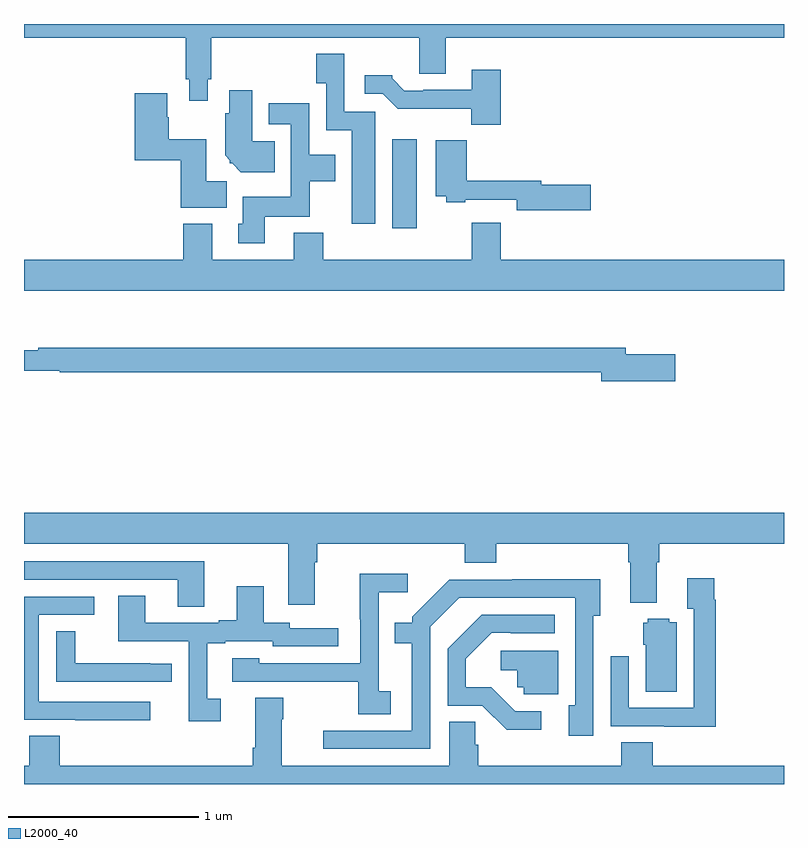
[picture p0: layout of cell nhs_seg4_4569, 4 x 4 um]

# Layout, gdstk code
import gdstk
lib = gdstk.Library(unit=1e-6, precision=1e-09)
def R(c, l, rs):  # rectangles x0, y0, x1, y1
    for r in rs: c.add(gdstk.rectangle(r[:2], r[2:], *l))
def P(c, l, *ps):  # polygons
    for p in ps: c.add(gdstk.Polygon(p, *l))
L2000_40 = (2000, 40)

nhs_seg4_4569 = lib.new_cell('nhs_seg4_4569')
R(nhs_seg4_4569, L2000_40, [(358.937,787.824,359.068,788.293)])
P(nhs_seg4_4569, L2000_40, [(357.966,788.608),(357.986,788.608),(357.986,788.828),(359.081,788.828),(359.081,788.638),(359.221,788.638),(359.221,788.828),(361,788.828),(361,788.9),(357,788.9),(357,788.828),(357.85,788.828),(357.85,788.608),(357.87,788.608),(357.87,788.496),(357.966,788.496)],
  [(358.849,788.439),(358.686,788.439),(358.686,788.743),(358.538,788.743),(358.538,788.587),(358.59,788.587),(358.59,788.342),(358.724,788.342),(358.724,787.848),(358.849,787.848)],
  [(359.51,788.659),(359.357,788.659),(359.357,788.553),(359.101,788.553),(359.101,788.55),(359.002,788.55),(358.938,788.614),(358.938,788.629),(358.794,788.629),(358.794,788.532),(358.887,788.532),(358.966,788.454),(359.355,788.454),(359.355,788.369),(359.51,788.369)],
  [(358.319,788.284),(358.201,788.284),(358.201,788.551),(358.079,788.551),(358.079,788.43),(358.058,788.43),(358.058,788.209),(358.083,788.184),(358.083,788.166),(358.095,788.166),(358.141,788.12),(358.319,788.12)],
  [(358.066,788.073),(357.958,788.073),(357.958,788.293),(357.762,788.293),(357.762,788.408),(357.754,788.408),(357.754,788.536),(357.584,788.536),(357.584,788.183),(357.824,788.183),(357.824,787.934),(358.066,787.934)],
  [(358.267,787.886),(358.503,787.886),(358.503,788.072),(358.639,788.072),(358.639,788.212),(358.5,788.212),(358.5,788.482),(358.287,788.482),(358.287,788.373),(358.404,788.373),(358.404,787.99),(358.151,787.99),(358.151,787.848),(358.127,787.848),(358.127,787.746),(358.267,787.746)],
  [(359.983,788.054),(359.722,788.054),(359.722,788.075),(359.33,788.075),(359.33,788.287),(359.168,788.287),(359.168,787.994),(359.223,787.994),(359.223,787.962),(359.323,787.962),(359.323,787.974),(359.594,787.974),(359.594,787.919),(359.983,787.919)],
  [(361,787.66),(359.51,787.66),(359.51,787.855),(359.357,787.855),(359.357,787.66),(358.574,787.66),(358.574,787.801),(358.421,787.801),(358.421,787.66),(357.991,787.66),(357.991,787.849),(357.839,787.849),(357.839,787.66),(357,787.66),(357,787.496),(361,787.496)],
  [(360.427,787.161),(360.166,787.161),(360.166,787.195),(357.076,787.195),(357.076,787.182),(357,787.182),(357,787.074),(357.188,787.074),(357.188,787.066),(360.038,787.066),(360.038,787.019),(360.427,787.019)],
  [(358.531,786.068),(358.544,786.068),(358.544,786.164),(359.321,786.164),(359.321,786.065),(359.486,786.065),(359.486,786.164),(360.179,786.164),(360.179,786.068),(360.191,786.068),(360.191,785.855),(360.331,785.855),(360.331,786.068),(360.344,786.068),(360.344,786.164),(361,786.164),(361,786.328),(357,786.328),(357,786.164),(358.391,786.164),(358.391,785.844),(358.531,785.844)],
  [(357.949,786.072),(357,786.072),(357,785.976),(357.809,785.976),(357.809,785.833),(357.949,785.833)],
  [(358.93,785.388),(358.866,785.388),(358.866,785.909),(359.02,785.909),(359.02,786.007),(358.768,786.007),(358.768,785.768),(358.77,785.768),(358.77,785.535),(358.239,785.535),(358.239,785.563),(358.095,785.563),(358.095,785.439),(358.453,785.439),(358.453,785.437),(358.758,785.437),(358.758,785.266),(358.93,785.266)],
  [(360.641,785.87),(360.634,785.87),(360.634,785.983),(360.491,785.983),(360.491,785.822),(360.525,785.822),(360.525,785.301),(360.183,785.301),(360.183,785.572),(360.087,785.572),(360.087,785.205),(360.371,785.205),(360.371,785.201),(360.641,785.201)],
  [(359.139,785.727),(359.292,785.88),(359.901,785.88),(359.901,785.314),(359.867,785.314),(359.867,785.154),(359.997,785.154),(359.997,785.786),(360.034,785.786),(360.034,785.978),(359.569,785.978),(359.569,785.976),(359.238,785.976),(359.043,785.781),(359.043,785.749),(358.951,785.749),(358.951,785.64),(359.042,785.64),(359.042,785.181),(358.575,785.181),(358.575,785.085),(359.139,785.085)],
  [(358.036,785.349),(357.964,785.349),(357.964,785.64),(358.06,785.64),(358.06,785.652),(358.308,785.652),(358.308,785.625),(358.654,785.625),(358.654,785.721),(358.398,785.721),(358.398,785.748),(358.261,785.748),(358.261,785.941),(358.121,785.941),(358.121,785.761),(358.025,785.761),(358.025,785.748),(357.637,785.748),(357.637,785.891),(357.497,785.891),(357.497,785.652),(357.867,785.652),(357.867,785.229),(358.036,785.229)],
  [(357.664,785.334),(357.078,785.334),(357.078,785.79),(357.37,785.79),(357.37,785.886),(357,785.886),(357,785.238),(357.271,785.238),(357.271,785.236),(357.664,785.236)],
  [(359.722,785.283),(359.586,785.283),(359.459,785.41),(359.326,785.41),(359.326,785.56),(359.463,785.697),(359.563,785.697),(359.563,785.694),(359.794,785.694),(359.794,785.79),(359.408,785.79),(359.229,785.611),(359.229,785.313),(359.412,785.313),(359.54,785.186),(359.722,785.186)],
  [(360.436,785.752),(360.396,785.752),(360.396,785.77),(360.282,785.77),(360.282,785.748),(360.26,785.748),(360.26,785.634),(360.272,785.634),(360.272,785.386),(360.436,785.386)],
  [(357.778,785.534),(357.665,785.534),(357.665,785.535),(357.27,785.535),(357.27,785.705),(357.171,785.705),(357.171,785.439),(357.778,785.439)],
  [(359.812,785.601),(359.508,785.601),(359.508,785.498),(359.595,785.498),(359.595,785.409),(359.631,785.409),(359.631,785.373),(359.812,785.373)],
  [(361,784.996),(360.308,784.996),(360.308,785.12),(360.143,785.12),(360.143,784.996),(359.39,784.996),(359.39,785.106),(359.375,785.106),(359.375,785.228),(359.237,785.228),(359.237,784.996),(358.357,784.996),(358.357,785.24),(358.365,785.24),(358.365,785.353),(358.217,785.353),(358.217,785.092),(358.205,785.092),(358.205,784.996),(357.188,784.996),(357.188,785.153),(357.028,785.153),(357.028,784.996),(357,784.996),(357,784.9),(361,784.9)])

lib.write_gds('nhs_seg4_4569.gds')
